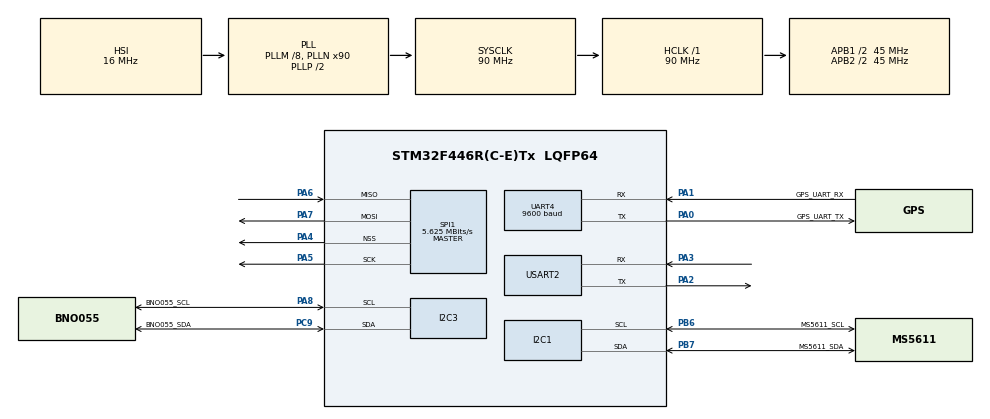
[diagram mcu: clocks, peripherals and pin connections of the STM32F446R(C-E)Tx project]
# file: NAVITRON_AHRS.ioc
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FATFS._MAX_SS=4096
FATFS._USE_LFN=1
Mcu.Family=STM32F4
Mcu.Name=STM32F446R(C-E)Tx
Mcu.Package=LQFP64
NVIC.PriorityGroup=NVIC_PRIORITYGROUP_4
NVIC.UART4_IRQn=true\:0\:0\:true\:false\:true\:true\:true\:true
PA0-WKUP.GPIO_Label=GPS_UART_TX
PA0-WKUP.Mode=Asynchronous
PA0-WKUP.Signal=UART4_TX
PA1.GPIO_Label=GPS_UART_RX
PA1.Mode=Asynchronous
PA1.Signal=UART4_RX
PA13.Mode=Trace_Asynchronous_SW
PA13.Signal=SYS_JTMS-SWDIO
PA14.Mode=Trace_Asynchronous_SW
PA14.Signal=SYS_JTCK-SWCLK
PA2.Mode=Asynchronous
PA2.Signal=USART2_TX
PA3.Mode=Asynchronous
PA3.Signal=USART2_RX
PA4.Mode=NSS_Signal_Hard_Output
PA4.Signal=SPI1_NSS
PA5.Mode=Full_Duplex_Master
PA5.Signal=SPI1_SCK
PA6.Mode=Full_Duplex_Master
PA6.Signal=SPI1_MISO
PA7.Mode=Full_Duplex_Master
PA7.Signal=SPI1_MOSI
PA8.GPIO_Label=BNO055_SCL
PA8.Mode=I2C
PA8.Signal=I2C3_SCL
PB3.Mode=Trace_Asynchronous_SW
PB3.Signal=SYS_JTDO-SWO
PB6.GPIO_Label=MS5611_SCL
PB6.Mode=I2C
PB6.Signal=I2C1_SCL
PB7.GPIO_Label=MS5611_SDA
PB7.Mode=I2C
PB7.Signal=I2C1_SDA
PC9.GPIO_Label=BNO055_SDA
PC9.Mode=I2C
PC9.Signal=I2C3_SDA
PH0-OSC_IN.Mode=HSE-External-Oscillator
PH0-OSC_IN.Signal=RCC_OSC_IN
PH1-OSC_OUT.Mode=HSE-External-Oscillator
PH1-OSC_OUT.Signal=RCC_OSC_OUT
ProjectManager.HeapSize=0x200
ProjectManager.StackSize=0x400
ProjectManager.TargetToolchain=STM32CubeIDE
RCC.AHBFreq_Value=90000000
RCC.APB1CLKDivider=RCC_HCLK_DIV2
RCC.APB1Freq_Value=45000000
RCC.APB1TimFreq_Value=90000000
RCC.APB2CLKDivider=RCC_HCLK_DIV2
RCC.APB2Freq_Value=45000000
RCC.APB2TimFreq_Value=90000000
RCC.CortexFreq_Value=90000000
RCC.HCLKFreq_Value=90000000
RCC.PLLM=8
RCC.PLLN=90
RCC.PLLQ=5
RCC.SYSCLKFreq_VALUE=90000000
RCC.SYSCLKSource=RCC_SYSCLKSOURCE_PLLCLK
RCC.USBFreq_Value=36000000
RCC.VCOOutputFreq_Value=180000000
SPI1.BaudRatePrescaler=SPI_BAUDRATEPRESCALER_8
SPI1.CalculateBaudRate=5.625 MBits/s
SPI1.Direction=SPI_DIRECTION_2LINES
SPI1.Mode=SPI_MODE_MASTER
SPI1.VirtualNSS=VM_NSSHARD
SPI1.VirtualType=VM_MASTER
UART4.BaudRate=9600
UART4.VirtualMode=Asynchronous
USART2.VirtualMode=VM_ASYNC
VP_FATFS_VS_Generic.Mode=User_defined
VP_TIM3_VS_ClockSourceINT.Mode=Internal
board=custom

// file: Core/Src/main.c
/* USER CODE BEGIN Header */
/**
  ******************************************************************************
  * @file           : main.c
  * @brief          : Main program body
  ******************************************************************************
  * @attention
  *
  * Copyright (c) 2025 STMicroelectronics.
  * All rights reserved.
  *
  * This software is licensed under terms that can be found in the LICENSE file
  * in the root directory of this software component.
  * If no LICENSE file comes with this software, it is provided AS-IS.
  *
  ******************************************************************************
  */
/* USER CODE END Header */
#include "main.h"
#include "fatfs.h"

/* USER CODE BEGIN Includes */
#include "stdio.h"
#include "string.h"

#include "bno055.h"
#include "neo_m8n.h"
#include "ahrs.h"
#include "ms5611.h"
#include "ekf.h"

//#include "usbd_cdc_if.h"
/* USER CODE END Includes */

I2C_HandleTypeDef hi2c1;
I2C_HandleTypeDef hi2c3;

SPI_HandleTypeDef hspi1;

TIM_HandleTypeDef htim3;

UART_HandleTypeDef huart4;
UART_HandleTypeDef huart2;

/* USER CODE BEGIN PV */

/* sd card functions */
static void write_to_sd_card(float head, float roll, float pitch);
void read_from_sd_card(void);
void clear_sd_card_file(void);
void delete_sd_card_file(void);

static void send_data_uart(UART_HandleTypeDef *huart, tAHRS* ahrs, tBNO055* bno);

FATFS FatFs;
FIL Fil;

/* GPS */
t_circ_buffer circ_buffer = {	.buffer = { 0 },
								.size = circ_buffer_size,
								.write_pos = 0,
								.read_pos = 0
							};

/*
t_gps_gga gga = { 0 };
t_gps_rmc rmc = { 0 };
*/

t_gps gps_data = {	.cbuffer = &circ_buffer				};

unsigned char gga_received[100];
unsigned char rmc_received[100];

/* Barometer */
t_ms5611 ms5611 = {		.hi2c = &hi2c1,
						.temp = 0.00,
						.pressure = 0.00

					};

/* IMU */
tBNO055 bno = {0};

/* AHRS Component */
tAHRS ahrs = { 0 };

/* USER CODE END PV */

void SystemClock_Config(void);
static void MX_GPIO_Init(void);
static void MX_TIM3_Init(void);
static void MX_UART4_Init(void);
static void MX_I2C3_Init(void);
static void MX_I2C1_Init(void);
static void MX_SPI1_Init(void);
static void MX_USART2_UART_Init(void);

/* USER CODE BEGIN 0 */

uint8_t RATE_10Hz[] =  		{0XB5, 0X62, 0X06, 0X08, 0X06, 0X00, 0X64, 0X00, 0X01, 0X00, 0X01, 0X00, 0X7A, 0X12};

char usb_buffer[100];
char sd_reading_buffer[500];
char sd_writing_buffer[100];

/* USER CODE END 0 */

int main(void)
{

  /* MCU Configuration--------------------------------------------------------*/

  /* Reset of all peripherals, Initializes the Flash interface and the Systick. */
  HAL_Init();

  /* Configure the system clock */
  SystemClock_Config();

  /* Initialize all configured peripherals */
  MX_GPIO_Init();
  MX_TIM3_Init();
  MX_UART4_Init();
  MX_I2C3_Init();
  MX_I2C1_Init();
  MX_SPI1_Init();
  MX_USART2_UART_Init();
  MX_FATFS_Init();
  /* USER CODE BEGIN 2 */

  /* init function for barometer */
  ms5611_init();

  /* init function for IMU sensor */
  BNO055_Init(&bno, &hi2c3);

  HAL_Delay(500);

  /* Configure GPS for data rate */
  HAL_UART_Transmit(&huart4, RATE_10Hz, 14, 500);
  HAL_Delay(100);

  if (HAL_UART_GetState(&huart4) == HAL_UART_STATE_READY) {
	  HAL_UART_Receive_IT(&huart4, gps_data.cbuffer->buffer, circ_buffer_size);
  }

  /* USER CODE END 2 */

  /* Infinite loop */
  while (1)
  {

    /* USER CODE BEGIN 3 */

	  if(gps_data.receive_check == true){
		  if(check_sentence(&gps_data, "GGA")){

			  if(parse_gps_data(&gps_data, '*', gga_received)){

				  if(decode_gga(gga_received, &(gps_data.gga)) == 1){

					  set_ahrs_data(&gps_data, &ahrs);
					  gps_data.receive_check = false;

					  /* for serial */
					  /*
					  sprintf(serial_buffer, "%.2f%c, %.2f%c, %02d:%02d:%02d  ", gps_data.gga->location.latitude, gps_data.gga->location.NS,\
							  gps_data.gga->location.longitude, gps_data.gga->location.EW, gps_data.gga->time.hour, \
							  gps_data.gga->time.min, gps_data.gga->time.sec );
						*/

				  }

			  }
		  }
		  else if(check_sentence(&gps_data, "RMC")){

			  if(parse_gps_data(&gps_data, '*', rmc_received)){

				  if(decode_rmc(rmc_received, &(gps_data.rmc)) == 1){

					  set_ahrs_data(&gps_data, &ahrs);
					  gps_data.receive_check = false;

					  /* for serial */
					  /*
					  sprintf(serial_buffer, " %.2f, %.2f, %02d/%02d/%04d ", gps_data.rmc->speed, gps_data.rmc->course, \
							  gps_data.rmc->date.day, gps_data.rmc->date.month, gps_data.rmc->date.year );
						*/

				  }
			  }

		  }
	  }

	  /* Barometer Task */
	  ms5611_task(&ahrs);

	  /* IMU Task */
	  BNO055_Task(&bno, &ahrs);

	  /* Extended Kalman Filter */
	  ekf_task(&gps_data, &bno, &ahrs);

	  /* USB Communication */
	  //sprintf(usb_buffer, " %.2f, %.2f, %.2f ", bno.euler.H, bno.euler.R, bno.euler.P);
	  //sprintf(usb_buffer, " %.2f, %.2f ", bno.eulerf.R, ahrs.telemetry.roll);
	  //CDC_Transmit_FS((uint8_t*)usb_buffer, strlen(usb_buffer));

	  /* Save AHRS data to SD card */
	  write_to_sd_card(ahrs.telemetry.head, ahrs.telemetry.roll, ahrs.telemetry.pitch);	// try increasing baud rate
	  //HAL_Delay(78);

	  //read_from_sd_card();		/* read if you need for checking */

	  //send_data_uart(&huart2, &ahrs, &bno);

  }

  /* USER CODE END 3 */
}

void SystemClock_Config(void)
{
  RCC_OscInitTypeDef RCC_OscInitStruct = {0};
  RCC_ClkInitTypeDef RCC_ClkInitStruct = {0};

  /** Configure the main internal regulator output voltage
  */
  __HAL_RCC_PWR_CLK_ENABLE();
  __HAL_PWR_VOLTAGESCALING_CONFIG(PWR_REGULATOR_VOLTAGE_SCALE3);

  /** Initializes the RCC Oscillators according to the specified parameters
  * in the RCC_OscInitTypeDef structure.
  */
  RCC_OscInitStruct.OscillatorType = RCC_OSCILLATORTYPE_HSI;
  RCC_OscInitStruct.HSIState = RCC_HSI_ON;
  RCC_OscInitStruct.HSICalibrationValue = RCC_HSICALIBRATION_DEFAULT;
  RCC_OscInitStruct.PLL.PLLState = RCC_PLL_ON;
  RCC_OscInitStruct.PLL.PLLSource = RCC_PLLSOURCE_HSI;
  RCC_OscInitStruct.PLL.PLLM = 8;
  RCC_OscInitStruct.PLL.PLLN = 90;
  RCC_OscInitStruct.PLL.PLLP = RCC_PLLP_DIV2;
  RCC_OscInitStruct.PLL.PLLQ = 5;
  RCC_OscInitStruct.PLL.PLLR = 2;
  if (HAL_RCC_OscConfig(&RCC_OscInitStruct) != HAL_OK)
  {
    Error_Handler();
  }

  /** Initializes the CPU, AHB and APB buses clocks
  */
  RCC_ClkInitStruct.ClockType = RCC_CLOCKTYPE_HCLK|RCC_CLOCKTYPE_SYSCLK
                              |RCC_CLOCKTYPE_PCLK1|RCC_CLOCKTYPE_PCLK2;
  RCC_ClkInitStruct.SYSCLKSource = RCC_SYSCLKSOURCE_PLLCLK;
  RCC_ClkInitStruct.AHBCLKDivider = RCC_SYSCLK_DIV1;
  RCC_ClkInitStruct.APB1CLKDivider = RCC_HCLK_DIV2;
  RCC_ClkInitStruct.APB2CLKDivider = RCC_HCLK_DIV2;

  if (HAL_RCC_ClockConfig(&RCC_ClkInitStruct, FLASH_LATENCY_2) != HAL_OK)
  {
    Error_Handler();
  }
}

static void MX_I2C1_Init(void)
{

  hi2c1.Instance = I2C1;
  hi2c1.Init.ClockSpeed = 100000;
  hi2c1.Init.DutyCycle = I2C_DUTYCYCLE_2;
  hi2c1.Init.OwnAddress1 = 0;
  hi2c1.Init.AddressingMode = I2C_ADDRESSINGMODE_7BIT;
  hi2c1.Init.DualAddressMode = I2C_DUALADDRESS_DISABLE;
  hi2c1.Init.OwnAddress2 = 0;
  hi2c1.Init.GeneralCallMode = I2C_GENERALCALL_DISABLE;
  hi2c1.Init.NoStretchMode = I2C_NOSTRETCH_DISABLE;
  if (HAL_I2C_Init(&hi2c1) != HAL_OK)
  {
    Error_Handler();
  }

}

static void MX_I2C3_Init(void)
{

  hi2c3.Instance = I2C3;
  hi2c3.Init.ClockSpeed = 100000;
  hi2c3.Init.DutyCycle = I2C_DUTYCYCLE_2;
  hi2c3.Init.OwnAddress1 = 0;
  hi2c3.Init.AddressingMode = I2C_ADDRESSINGMODE_7BIT;
  hi2c3.Init.DualAddressMode = I2C_DUALADDRESS_DISABLE;
  hi2c3.Init.OwnAddress2 = 0;
  hi2c3.Init.GeneralCallMode = I2C_GENERALCALL_DISABLE;
  hi2c3.Init.NoStretchMode = I2C_NOSTRETCH_DISABLE;
  if (HAL_I2C_Init(&hi2c3) != HAL_OK)
  {
    Error_Handler();
  }

}

static void MX_SPI1_Init(void)
{

  /* SPI1 parameter configuration*/
  hspi1.Instance = SPI1;
  hspi1.Init.Mode = SPI_MODE_MASTER;
  hspi1.Init.Direction = SPI_DIRECTION_2LINES;
  hspi1.Init.DataSize = SPI_DATASIZE_8BIT;
  hspi1.Init.CLKPolarity = SPI_POLARITY_LOW;
  hspi1.Init.CLKPhase = SPI_PHASE_1EDGE;
  hspi1.Init.NSS = SPI_NSS_HARD_OUTPUT;
  hspi1.Init.BaudRatePrescaler = SPI_BAUDRATEPRESCALER_8;
  hspi1.Init.FirstBit = SPI_FIRSTBIT_MSB;
  hspi1.Init.TIMode = SPI_TIMODE_DISABLE;
  hspi1.Init.CRCCalculation = SPI_CRCCALCULATION_DISABLE;
  hspi1.Init.CRCPolynomial = 10;
  if (HAL_SPI_Init(&hspi1) != HAL_OK)
  {
    Error_Handler();
  }

}

static void MX_TIM3_Init(void)
{

  TIM_ClockConfigTypeDef sClockSourceConfig = {0};
  TIM_MasterConfigTypeDef sMasterConfig = {0};

  htim3.Instance = TIM3;
  htim3.Init.Prescaler = 0;
  htim3.Init.CounterMode = TIM_COUNTERMODE_UP;
  htim3.Init.Period = 65535;
  htim3.Init.ClockDivision = TIM_CLOCKDIVISION_DIV1;
  htim3.Init.AutoReloadPreload = TIM_AUTORELOAD_PRELOAD_DISABLE;
  if (HAL_TIM_Base_Init(&htim3) != HAL_OK)
  {
    Error_Handler();
  }
  sClockSourceConfig.ClockSource = TIM_CLOCKSOURCE_INTERNAL;
  if (HAL_TIM_ConfigClockSource(&htim3, &sClockSourceConfig) != HAL_OK)
  {
    Error_Handler();
  }
  sMasterConfig.MasterOutputTrigger = TIM_TRGO_RESET;
  sMasterConfig.MasterSlaveMode = TIM_MASTERSLAVEMODE_DISABLE;
  if (HAL_TIMEx_MasterConfigSynchronization(&htim3, &sMasterConfig) != HAL_OK)
  {
    Error_Handler();
  }

}

static void MX_UART4_Init(void)
{

  huart4.Instance = UART4;
  huart4.Init.BaudRate = 9600;
  huart4.Init.WordLength = UART_WORDLENGTH_8B;
  huart4.Init.StopBits = UART_STOPBITS_1;
  huart4.Init.Parity = UART_PARITY_NONE;
  huart4.Init.Mode = UART_MODE_TX_RX;
  huart4.Init.HwFlowCtl = UART_HWCONTROL_NONE;
  huart4.Init.OverSampling = UART_OVERSAMPLING_16;
  if (HAL_UART_Init(&huart4) != HAL_OK)
  {
    Error_Handler();
  }

}

static void MX_USART2_UART_Init(void)
{

  huart2.Instance = USART2;
  huart2.Init.BaudRate = 115200;
  huart2.Init.WordLength = UART_WORDLENGTH_8B;
  huart2.Init.StopBits = UART_STOPBITS_1;
  huart2.Init.Parity = UART_PARITY_NONE;
  huart2.Init.Mode = UART_MODE_TX_RX;
  huart2.Init.HwFlowCtl = UART_HWCONTROL_NONE;
  huart2.Init.OverSampling = UART_OVERSAMPLING_16;
  if (HAL_UART_Init(&huart2) != HAL_OK)
  {
    Error_Handler();
  }

}

static void MX_GPIO_Init(void)
{

  /* GPIO Ports Clock Enable */
  __HAL_RCC_GPIOH_CLK_ENABLE();
  __HAL_RCC_GPIOA_CLK_ENABLE();
  __HAL_RCC_GPIOC_CLK_ENABLE();
  __HAL_RCC_GPIOB_CLK_ENABLE();

}

/* USER CODE BEGIN 4 */

/* SD Card Functions */
static void write_to_sd_card(float head, float roll, float pitch) {
    FRESULT FR_Status;
    UINT WWC;  // Write Word Counter

    FR_Status = f_mount(&FatFs, "", 1);
    if (FR_Status != FR_OK) {
        return;
    }

    // Dosyayı açma (her seferinde veri eklemek için append)
    FR_Status = f_open(&Fil, "ahrs_data.txt", FA_OPEN_APPEND | FA_WRITE);
    if (FR_Status != FR_OK) {
        return;
    }

    // Veri formatı: head, roll, pitch
    snprintf(sd_writing_buffer, sizeof(sd_writing_buffer), "%.2f, %.2f, %.2f\n", head, roll, pitch);

    // Veriyi dosyaya yaz ve WWC'yi güncelle
    FR_Status = f_write(&Fil, sd_writing_buffer, strlen(sd_writing_buffer), &WWC);
    if (FR_Status != FR_OK) {
        return;
    }

    // Yazılan byte sayısını WWC ile takip et
    //printf("Written %d bytes to the file.\n", WWC);

    f_close(&Fil);
}

void read_from_sd_card(void) {
    FRESULT FR_Status;
    UINT RWC;  // Read Word Counter

    // Dosyayı açma
    FR_Status = f_open(&Fil, "ahrs_data.txt", FA_READ);
    if (FR_Status != FR_OK) {
        return;
    }

    DWORD file_size = f_size(&Fil);

    // Dosyanın sonuna kadar okuma işlemi
    UINT read_position = 0;
    while (read_position < file_size) {
        // Veriyi okuma (WWC kadar)
        FR_Status = f_read(&Fil, sd_reading_buffer, sizeof(sd_reading_buffer) - 1, &RWC);
        if (FR_Status != FR_OK) {
            return;
        }

        // Eğer okuma işlemi yapılmazsa (dosyanın sonuna geldiyse), çık
        if (RWC == 0) {
            break;
        }

        // Okunan veriyi ekrana yaz
        sd_reading_buffer[RWC] = '\0';  // Null terminator ekleyelim
        //printf("Read data: %s\n", sd_reading_buffer);

        read_position += RWC;

        // Eğer okuma işleminden sonra daha fazla veri yoksa çık
        if (RWC < sizeof(sd_reading_buffer) - 1) {
            break;
        }

    }

    f_close(&Fil);
}

void delete_sd_card_file(void){
	FRESULT FR_Status;

	FR_Status = f_unlink("ahrs_data.txt");

	if (FR_Status != FR_OK){
		return;
	}

}

/* Observe filtering IMU data and GPS position */
static void send_data_uart(UART_HandleTypeDef *huart, tAHRS* ahrs, tBNO055* bno) {
    char tx_buffer[150];
    memset(tx_buffer, '\0', sizeof(tx_buffer));

    snprintf(tx_buffer, sizeof(tx_buffer),
             "R:%.2f,%.2f,P:%.2f,%.2f,Y:%.2f,%.2f,Lat:%.8f,Lon:%.8f,Q:%.3f,%.3f,%.3f,%.3f\n",
             bno->eulerf.R, ahrs->telemetry.roll, bno->eulerf.P, ahrs->telemetry.pitch, bno->eulerf.H, ahrs->telemetry.head,
			 ahrs->position.latitude, ahrs->position.longitude, ahrs->telemetry.q0, ahrs->telemetry.q1,
			 ahrs->telemetry.q2, ahrs->telemetry.q3);

    HAL_UART_Transmit(huart, (uint8_t*)tx_buffer, strlen(tx_buffer), HAL_MAX_DELAY);

}

/* USER CODE END 4 */

void Error_Handler(void)
{
  __disable_irq();
  while (1)
  {
  }
}
